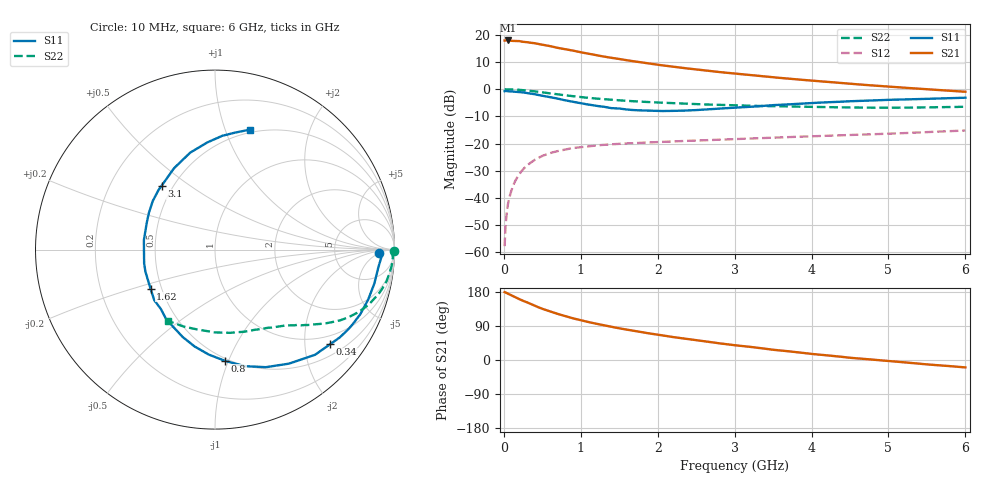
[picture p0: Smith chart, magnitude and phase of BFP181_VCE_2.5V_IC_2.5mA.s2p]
! Infineon Technologies  Discrete & RF Semiconductors
! BFP181
! VCE = 2.5 V,  IC =  2.5 mA
! Common Emitter S-Parameters:  Jan 2016
# GHz  S  MA  R  50
!  f  S11  S21  S12  S22
! GHz  MAG  ANG  MAG  ANG  MAG  ANG  MAG  ANG
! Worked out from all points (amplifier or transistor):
!   210 points, 10 MHz to 6 GHz, reference 50 ohm
!   highest |S21| = 17.9 dB at 50 MHz (marker M1)
!   |S21| within 3 dB of that: start of sweep to 759 MHz
!   unconditionally stable (mu >= 1): 2.223 GHz to end of sweep
!   at 185 MHz: K = 0.12, MSG = 24.8 dB, |S12| = -31.9 dB
!   at 1.52 GHz: K = 0.76, MSG = 15.5 dB, |S12| = -20.1 dB
!   at 6 GHz: K = 1.12, MAG = 5.1 dB, |S12| = -15.2 dB
!   S11 on the Smith chart (normalised r, x): 10 MHz: 21, -6; 340 MHz: 0.76, -2.59; 800 MHz: 0.48, -0.97; 1.62 GHz: 0.43, -0.23; 3.1 GHz: 0.43, +0.39; 6 GHz: 0.47, +1.22
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0.01  0.9161 -1.3  7.813 179.1  0.0013 85.9  0.9954 -0.5
0.025  0.9262 -3.1  7.839 177.9  0.0034 86.8  0.9889 -1.3
0.05  0.916 -5.9  7.844 175.1  0.0072 88.7  0.992 -2.7
0.115  0.9037 -13.8  7.703 168.9  0.016 80.5  0.9857 -6.1
0.2  0.8861 -23.9  7.636 160.7  0.0273 75.9  0.9712 -10.6
0.34  0.8299 -39.5  7.148 148.7  0.0436 66.8  0.9292 -17.0
0.4  0.8089 -46.4  6.986 143.0  0.05 63.6  0.9101 -19.7
0.5  0.7576 -57.0  6.56 135.0  0.0592 57.9  0.8726 -23.5
0.6  0.7137 -66.6  6.174 128.2  0.0667 53.5  0.837 -26.6
0.7  0.6699 -75.8  5.739 121.6  0.0727 49.4  0.8019 -29.4
0.8  0.6221 -84.9  5.437 115.5  0.0778 46.0  0.7698 -31.6
1.02  0.5441 -103.5  4.7 103.9  0.0866 39.9  0.7095 -35.8
1.3  0.4743 -124.9  3.967 91.6  0.0947 34.2  0.6539 -40.0
1.62  0.4196 -148.9  3.36 79.3  0.1008 30.2  0.6083 -43.9
1.8  0.4067 -162.4  3.088 72.9  0.1035 28.9  0.5861 -46.0
2.02  0.3964 -176.6  2.784 66.1  0.1071 27.1  0.5665 -48.7
2.4  0.4061 161.0  2.387 55.0  0.1123 24.8  0.5386 -53.7
3.1  0.4637 130.0  1.872 36.9  0.122 21.8  0.4984 -63.8
3.5  0.5077 116.7  1.651 27.0  0.1284 20.5  0.4857 -70.4
4.1  0.5645 102.1  1.396 14.3  0.1375 18.1  0.4678 -81.9
5.1  0.6404 85.0  1.088 -4.4  0.1534 15.2  0.4558 -103.2
6  0.6953 73.9  0.895 -19.6  0.1735 11.3  0.4751 -123.1
